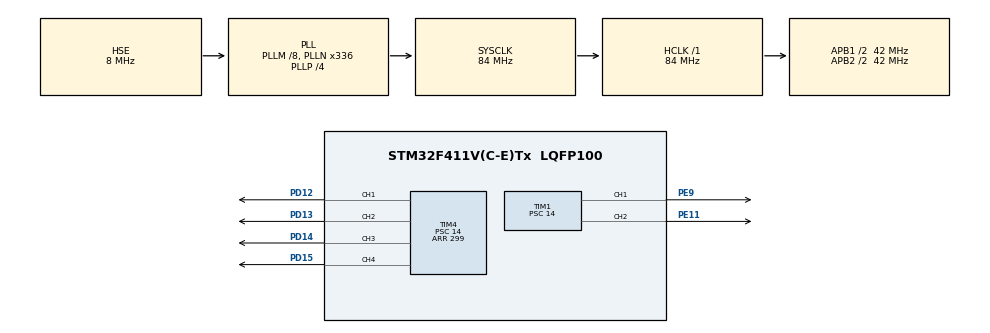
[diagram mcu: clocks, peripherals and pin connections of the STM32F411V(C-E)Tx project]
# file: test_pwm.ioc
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Mcu.Family=STM32F4
Mcu.Name=STM32F411V(C-E)Tx
Mcu.Package=LQFP100
NVIC.PriorityGroup=NVIC_PRIORITYGROUP_4
PA13.Mode=Serial_Wire
PA13.Signal=SYS_JTMS-SWDIO
PA14.Mode=Serial_Wire
PA14.Signal=SYS_JTCK-SWCLK
PC14-OSC32_IN.Mode=LSE-External-Oscillator
PC14-OSC32_IN.Signal=RCC_OSC32_IN
PC15-OSC32_OUT.Mode=LSE-External-Oscillator
PC15-OSC32_OUT.Signal=RCC_OSC32_OUT
PD12.GPIO_ModeDefaultPP=GPIO_MODE_AF_PP
PD12.GPIO_PuPd=GPIO_NOPULL
PD12.GPIO_Speed=GPIO_SPEED_FREQ_VERY_HIGH
PD12.Signal=S_TIM4_CH1
PD13.GPIO_ModeDefaultPP=GPIO_MODE_AF_PP
PD13.GPIO_PuPd=GPIO_NOPULL
PD13.GPIO_Speed=GPIO_SPEED_FREQ_VERY_HIGH
PD13.Signal=S_TIM4_CH2
PD14.GPIO_ModeDefaultPP=GPIO_MODE_AF_PP
PD14.GPIO_PuPd=GPIO_NOPULL
PD14.GPIO_Speed=GPIO_SPEED_FREQ_VERY_HIGH
PD14.Signal=S_TIM4_CH3
PD15.GPIO_ModeDefaultPP=GPIO_MODE_AF_PP
PD15.GPIO_PuPd=GPIO_NOPULL
PD15.GPIO_Speed=GPIO_SPEED_FREQ_VERY_HIGH
PD15.Signal=S_TIM4_CH4
PE11.Signal=S_TIM1_CH2
PE9.Signal=S_TIM1_CH1
PH0\ -\ OSC_IN.Mode=HSE-External-Oscillator
PH0\ -\ OSC_IN.Signal=RCC_OSC_IN
PH1\ -\ OSC_OUT.Mode=HSE-External-Oscillator
PH1\ -\ OSC_OUT.Signal=RCC_OSC_OUT
ProjectManager.HeapSize=0x200
ProjectManager.StackSize=0x400
ProjectManager.TargetToolchain=STM32CubeIDE
RCC.48MHZClocksFreq_Value=84000000
RCC.AHBFreq_Value=84000000
RCC.APB1CLKDivider=RCC_HCLK_DIV2
RCC.APB1Freq_Value=42000000
RCC.APB1TimFreq_Value=84000000
RCC.APB2CLKDivider=RCC_HCLK_DIV2
RCC.APB2Freq_Value=42000000
RCC.APB2TimFreq_Value=84000000
RCC.CortexFreq_Value=84000000
RCC.HCLKFreq_Value=84000000
RCC.HSE_VALUE=8000000
RCC.HSI_VALUE=16000000
RCC.PLLM=8
RCC.PLLN=336
RCC.PLLP=RCC_PLLP_DIV4
RCC.PLLSourceVirtual=RCC_PLLSOURCE_HSE
RCC.SYSCLKFreq_VALUE=84000000
RCC.SYSCLKSource=RCC_SYSCLKSOURCE_PLLCLK
RCC.VCOOutputFreq_Value=336000000
SH.S_TIM1_CH1.0=TIM1_CH1,PWM Generation1 CH1
SH.S_TIM1_CH2.0=TIM1_CH2,PWM Generation2 CH2
SH.S_TIM4_CH1.0=TIM4_CH1,PWM Generation1 CH1
SH.S_TIM4_CH2.0=TIM4_CH2,PWM Generation2 CH2
SH.S_TIM4_CH3.0=TIM4_CH3,PWM Generation3 CH3
SH.S_TIM4_CH4.0=TIM4_CH4,PWM Generation4 CH4
TIM1.Channel-PWM\ Generation1\ CH1=TIM_CHANNEL_1
TIM1.Channel-PWM\ Generation2\ CH2=TIM_CHANNEL_2
TIM1.Period=299
TIM1.Prescaler=14
TIM4.Channel-PWM\ Generation1\ CH1=TIM_CHANNEL_1
TIM4.Channel-PWM\ Generation2\ CH2=TIM_CHANNEL_2
TIM4.Channel-PWM\ Generation3\ CH3=TIM_CHANNEL_3
TIM4.Channel-PWM\ Generation4\ CH4=TIM_CHANNEL_4
TIM4.Period=299
TIM4.Prescaler=14
VP_TIM1_VS_ClockSourceINT.Mode=Internal
VP_TIM4_VS_ClockSourceINT.Mode=Internal
board=custom

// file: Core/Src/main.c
/* USER CODE BEGIN Header */
/**
  ******************************************************************************
  * @file           : main.c
  * @brief          : Main program body
  ******************************************************************************
  * @attention
  *
  * <h2><center>&copy; Copyright (c) 2020 STMicroelectronics.
  * All rights reserved.</center></h2>
  *
  * This software component is licensed by ST under BSD 3-Clause license,
  * the "License"; You may not use this file except in compliance with the
  * License. You may obtain a copy of the License at:
  *                        opensource.org/licenses/BSD-3-Clause
  *
  ******************************************************************************
  */
/* USER CODE END Header */

#include "main.h"

TIM_HandleTypeDef htim1;
TIM_HandleTypeDef htim4;

void SystemClock_Config(void);
static void MX_GPIO_Init(void);
static void MX_TIM1_Init(void);
static void MX_TIM4_Init(void);

int main(void)
{

  /* MCU Configuration--------------------------------------------------------*/

  /* Reset of all peripherals, Initializes the Flash interface and the Systick. */
  HAL_Init();

  /* Configure the system clock */
  SystemClock_Config();

  /* Initialize all configured peripherals */
  MX_GPIO_Init();
  MX_TIM1_Init();
  MX_TIM4_Init();
  /* USER CODE BEGIN 2 */
  HAL_TIM_PWM_Start(&htim1, TIM_CHANNEL_1);
HAL_TIM_PWM_Start(&htim4, TIM_CHANNEL_1);
HAL_TIM_PWM_Start(&htim4, TIM_CHANNEL_2);
HAL_TIM_PWM_Start(&htim4, TIM_CHANNEL_3);
HAL_TIM_PWM_Start(&htim4, TIM_CHANNEL_4);
  /* USER CODE END 2 */

  /* Infinite loop */
  /* USER CODE BEGIN WHILE */
  __HAL_TIM_SET_COMPARE(&htim1, TIM_CHANNEL_1, 590);
  __HAL_TIM_SET_COMPARE(&htim4, TIM_CHANNEL_1, 100);
/*
  __HAL_TIM_SET_COMPARE(&htim4, TIM_CHANNEL_2, 200);
  __HAL_TIM_SET_COMPARE(&htim4, TIM_CHANNEL_3, 299);
  __HAL_TIM_SET_COMPARE(&htim4, TIM_CHANNEL_4, 50);
*/
  uint16_t duty=0;
  while (1)
  {
	  if (duty==300)
			  duty=0;
	  __HAL_TIM_SET_COMPARE(&htim1, TIM_CHANNEL_1, duty);
	  __HAL_TIM_SET_COMPARE(&htim4, TIM_CHANNEL_2, duty+50);
	  __HAL_TIM_SET_COMPARE(&htim4, TIM_CHANNEL_3, duty+100);
	  __HAL_TIM_SET_COMPARE(&htim4, TIM_CHANNEL_4, duty+150);
/*
	  __HAL_TIM_SET_COMPARE(&htim4, TIM_CHANNEL_2, duty+50);
	  __HAL_TIM_SET_COMPARE(&htim4, TIM_CHANNEL_3, duty+100);
	  __HAL_TIM_SET_COMPARE(&htim4, TIM_CHANNEL_4, duty+150);
*/
	  duty+=10;
	  HAL_Delay(100);

    /* USER CODE END WHILE */

  }
}

void SystemClock_Config(void)
{
  RCC_OscInitTypeDef RCC_OscInitStruct = {0};
  RCC_ClkInitTypeDef RCC_ClkInitStruct = {0};

  /** Configure the main internal regulator output voltage
  */
  __HAL_RCC_PWR_CLK_ENABLE();
  __HAL_PWR_VOLTAGESCALING_CONFIG(PWR_REGULATOR_VOLTAGE_SCALE1);
  /** Initializes the CPU, AHB and APB busses clocks
  */
  RCC_OscInitStruct.OscillatorType = RCC_OSCILLATORTYPE_HSE;
  RCC_OscInitStruct.HSEState = RCC_HSE_ON;
  RCC_OscInitStruct.PLL.PLLState = RCC_PLL_ON;
  RCC_OscInitStruct.PLL.PLLSource = RCC_PLLSOURCE_HSE;
  RCC_OscInitStruct.PLL.PLLM = 8;
  RCC_OscInitStruct.PLL.PLLN = 336;
  RCC_OscInitStruct.PLL.PLLP = RCC_PLLP_DIV4;
  RCC_OscInitStruct.PLL.PLLQ = 4;
  if (HAL_RCC_OscConfig(&RCC_OscInitStruct) != HAL_OK)
  {
    Error_Handler();
  }
  /** Initializes the CPU, AHB and APB busses clocks
  */
  RCC_ClkInitStruct.ClockType = RCC_CLOCKTYPE_HCLK|RCC_CLOCKTYPE_SYSCLK
                              |RCC_CLOCKTYPE_PCLK1|RCC_CLOCKTYPE_PCLK2;
  RCC_ClkInitStruct.SYSCLKSource = RCC_SYSCLKSOURCE_PLLCLK;
  RCC_ClkInitStruct.AHBCLKDivider = RCC_SYSCLK_DIV1;
  RCC_ClkInitStruct.APB1CLKDivider = RCC_HCLK_DIV2;
  RCC_ClkInitStruct.APB2CLKDivider = RCC_HCLK_DIV2;

  if (HAL_RCC_ClockConfig(&RCC_ClkInitStruct, FLASH_LATENCY_2) != HAL_OK)
  {
    Error_Handler();
  }
}

static void MX_TIM1_Init(void)
{

  TIM_ClockConfigTypeDef sClockSourceConfig = {0};
  TIM_MasterConfigTypeDef sMasterConfig = {0};
  TIM_OC_InitTypeDef sConfigOC = {0};
  TIM_BreakDeadTimeConfigTypeDef sBreakDeadTimeConfig = {0};

  htim1.Instance = TIM1;
  htim1.Init.Prescaler = 14;
  htim1.Init.CounterMode = TIM_COUNTERMODE_UP;
  htim1.Init.Period = 299;
  htim1.Init.ClockDivision = TIM_CLOCKDIVISION_DIV1;
  htim1.Init.RepetitionCounter = 0;
  htim1.Init.AutoReloadPreload = TIM_AUTORELOAD_PRELOAD_DISABLE;
  if (HAL_TIM_Base_Init(&htim1) != HAL_OK)
  {
    Error_Handler();
  }
  sClockSourceConfig.ClockSource = TIM_CLOCKSOURCE_INTERNAL;
  if (HAL_TIM_ConfigClockSource(&htim1, &sClockSourceConfig) != HAL_OK)
  {
    Error_Handler();
  }
  if (HAL_TIM_PWM_Init(&htim1) != HAL_OK)
  {
    Error_Handler();
  }
  sMasterConfig.MasterOutputTrigger = TIM_TRGO_RESET;
  sMasterConfig.MasterSlaveMode = TIM_MASTERSLAVEMODE_DISABLE;
  if (HAL_TIMEx_MasterConfigSynchronization(&htim1, &sMasterConfig) != HAL_OK)
  {
    Error_Handler();
  }
  sConfigOC.OCMode = TIM_OCMODE_PWM1;
  sConfigOC.Pulse = 0;
  sConfigOC.OCPolarity = TIM_OCPOLARITY_HIGH;
  sConfigOC.OCNPolarity = TIM_OCNPOLARITY_HIGH;
  sConfigOC.OCFastMode = TIM_OCFAST_DISABLE;
  sConfigOC.OCIdleState = TIM_OCIDLESTATE_RESET;
  sConfigOC.OCNIdleState = TIM_OCNIDLESTATE_RESET;
  if (HAL_TIM_PWM_ConfigChannel(&htim1, &sConfigOC, TIM_CHANNEL_1) != HAL_OK)
  {
    Error_Handler();
  }
  if (HAL_TIM_PWM_ConfigChannel(&htim1, &sConfigOC, TIM_CHANNEL_2) != HAL_OK)
  {
    Error_Handler();
  }
  sBreakDeadTimeConfig.OffStateRunMode = TIM_OSSR_DISABLE;
  sBreakDeadTimeConfig.OffStateIDLEMode = TIM_OSSI_DISABLE;
  sBreakDeadTimeConfig.LockLevel = TIM_LOCKLEVEL_OFF;
  sBreakDeadTimeConfig.DeadTime = 0;
  sBreakDeadTimeConfig.BreakState = TIM_BREAK_DISABLE;
  sBreakDeadTimeConfig.BreakPolarity = TIM_BREAKPOLARITY_HIGH;
  sBreakDeadTimeConfig.AutomaticOutput = TIM_AUTOMATICOUTPUT_DISABLE;
  if (HAL_TIMEx_ConfigBreakDeadTime(&htim1, &sBreakDeadTimeConfig) != HAL_OK)
  {
    Error_Handler();
  }
  HAL_TIM_MspPostInit(&htim1);

}

static void MX_TIM4_Init(void)
{

  TIM_ClockConfigTypeDef sClockSourceConfig = {0};
  TIM_MasterConfigTypeDef sMasterConfig = {0};
  TIM_OC_InitTypeDef sConfigOC = {0};

  htim4.Instance = TIM4;
  htim4.Init.Prescaler = 14;
  htim4.Init.CounterMode = TIM_COUNTERMODE_UP;
  htim4.Init.Period = 299;
  htim4.Init.ClockDivision = TIM_CLOCKDIVISION_DIV1;
  htim4.Init.AutoReloadPreload = TIM_AUTORELOAD_PRELOAD_DISABLE;
  if (HAL_TIM_Base_Init(&htim4) != HAL_OK)
  {
    Error_Handler();
  }
  sClockSourceConfig.ClockSource = TIM_CLOCKSOURCE_INTERNAL;
  if (HAL_TIM_ConfigClockSource(&htim4, &sClockSourceConfig) != HAL_OK)
  {
    Error_Handler();
  }
  if (HAL_TIM_PWM_Init(&htim4) != HAL_OK)
  {
    Error_Handler();
  }
  sMasterConfig.MasterOutputTrigger = TIM_TRGO_RESET;
  sMasterConfig.MasterSlaveMode = TIM_MASTERSLAVEMODE_DISABLE;
  if (HAL_TIMEx_MasterConfigSynchronization(&htim4, &sMasterConfig) != HAL_OK)
  {
    Error_Handler();
  }
  sConfigOC.OCMode = TIM_OCMODE_PWM1;
  sConfigOC.Pulse = 0;
  sConfigOC.OCPolarity = TIM_OCPOLARITY_HIGH;
  sConfigOC.OCFastMode = TIM_OCFAST_DISABLE;
  if (HAL_TIM_PWM_ConfigChannel(&htim4, &sConfigOC, TIM_CHANNEL_1) != HAL_OK)
  {
    Error_Handler();
  }
  if (HAL_TIM_PWM_ConfigChannel(&htim4, &sConfigOC, TIM_CHANNEL_2) != HAL_OK)
  {
    Error_Handler();
  }
  if (HAL_TIM_PWM_ConfigChannel(&htim4, &sConfigOC, TIM_CHANNEL_3) != HAL_OK)
  {
    Error_Handler();
  }
  if (HAL_TIM_PWM_ConfigChannel(&htim4, &sConfigOC, TIM_CHANNEL_4) != HAL_OK)
  {
    Error_Handler();
  }
  HAL_TIM_MspPostInit(&htim4);

}

static void MX_GPIO_Init(void)
{

  /* GPIO Ports Clock Enable */
  __HAL_RCC_GPIOC_CLK_ENABLE();
  __HAL_RCC_GPIOH_CLK_ENABLE();
  __HAL_RCC_GPIOE_CLK_ENABLE();
  __HAL_RCC_GPIOD_CLK_ENABLE();
  __HAL_RCC_GPIOA_CLK_ENABLE();

}

void Error_Handler(void)
{
}

/************************ (C) COPYRIGHT STMicroelectronics *****END OF FILE****/
